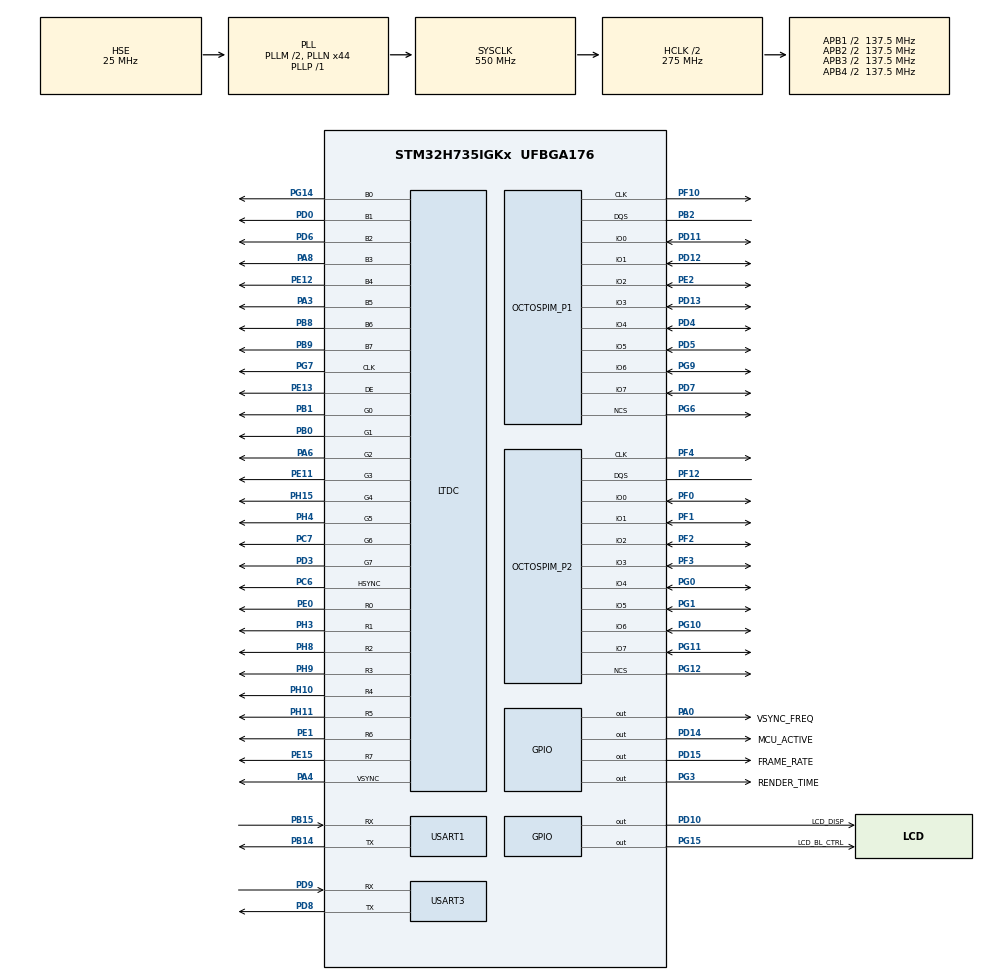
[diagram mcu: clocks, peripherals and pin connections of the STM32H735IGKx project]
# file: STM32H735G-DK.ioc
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CORTEX_M7.AccessPermission-Cortex_Memory_Protection_Unit_Region0_Settings=MPU_REGION_FULL_ACCESS
CORTEX_M7.AccessPermission-Cortex_Memory_Protection_Unit_Region2_Settings=MPU_REGION_FULL_ACCESS
CORTEX_M7.AccessPermission-Cortex_Memory_Protection_Unit_Region4_Settings=MPU_REGION_FULL_ACCESS
CORTEX_M7.BaseAddress-Cortex_Memory_Protection_Unit_Region0_Settings=0x24000000
CORTEX_M7.BaseAddress-Cortex_Memory_Protection_Unit_Region1_Settings=0x70000000
CORTEX_M7.BaseAddress-Cortex_Memory_Protection_Unit_Region2_Settings=0x70000000
CORTEX_M7.BaseAddress-Cortex_Memory_Protection_Unit_Region3_Settings=0x90000000
CORTEX_M7.BaseAddress-Cortex_Memory_Protection_Unit_Region4_Settings=0x90000000
CORTEX_M7.CPU_DCache=Enabled
CORTEX_M7.CPU_ICache=Enabled
CORTEX_M7.DisableExec-Cortex_Memory_Protection_Unit_Region0_Settings=MPU_INSTRUCTION_ACCESS_DISABLE
CORTEX_M7.DisableExec-Cortex_Memory_Protection_Unit_Region1_Settings=MPU_INSTRUCTION_ACCESS_DISABLE
CORTEX_M7.DisableExec-Cortex_Memory_Protection_Unit_Region2_Settings=MPU_INSTRUCTION_ACCESS_DISABLE
CORTEX_M7.DisableExec-Cortex_Memory_Protection_Unit_Region3_Settings=MPU_INSTRUCTION_ACCESS_DISABLE
CORTEX_M7.DisableExec-Cortex_Memory_Protection_Unit_Region4_Settings=MPU_INSTRUCTION_ACCESS_DISABLE
CORTEX_M7.Enable-Cortex_Memory_Protection_Unit_Region0_Settings=MPU_REGION_ENABLE
CORTEX_M7.Enable-Cortex_Memory_Protection_Unit_Region1_Settings=MPU_REGION_ENABLE
CORTEX_M7.Enable-Cortex_Memory_Protection_Unit_Region2_Settings=MPU_REGION_ENABLE
CORTEX_M7.Enable-Cortex_Memory_Protection_Unit_Region3_Settings=MPU_REGION_ENABLE
CORTEX_M7.Enable-Cortex_Memory_Protection_Unit_Region4_Settings=MPU_REGION_ENABLE
CORTEX_M7.IsBufferable-Cortex_Memory_Protection_Unit_Region0_Settings=MPU_ACCESS_BUFFERABLE
CORTEX_M7.IsBufferable-Cortex_Memory_Protection_Unit_Region2_Settings=MPU_ACCESS_BUFFERABLE
CORTEX_M7.IsCacheable-Cortex_Memory_Protection_Unit_Region0_Settings=MPU_ACCESS_CACHEABLE
CORTEX_M7.IsCacheable-Cortex_Memory_Protection_Unit_Region2_Settings=MPU_ACCESS_CACHEABLE
CORTEX_M7.IsCacheable-Cortex_Memory_Protection_Unit_Region4_Settings=MPU_ACCESS_CACHEABLE
CORTEX_M7.MPU_Control=MPU_PRIVILEGED_DEFAULT
CORTEX_M7.Size-Cortex_Memory_Protection_Unit_Region0_Settings=MPU_REGION_SIZE_512KB
CORTEX_M7.Size-Cortex_Memory_Protection_Unit_Region1_Settings=MPU_REGION_SIZE_512MB
CORTEX_M7.Size-Cortex_Memory_Protection_Unit_Region2_Settings=MPU_REGION_SIZE_8MB
CORTEX_M7.Size-Cortex_Memory_Protection_Unit_Region3_Settings=MPU_REGION_SIZE_512MB
CORTEX_M7.Size-Cortex_Memory_Protection_Unit_Region4_Settings=MPU_REGION_SIZE_64MB
DMA2D.ColorMode=DMA2D_OUTPUT_RGB888
DMA2D.Mode=DMA2D_R2M
Dma.Request0=USART1_RX
Dma.USART1_RX.0.Direction=DMA_PERIPH_TO_MEMORY
Dma.USART1_RX.0.EventEnable=DISABLE
Dma.USART1_RX.0.FIFOMode=DMA_FIFOMODE_DISABLE
Dma.USART1_RX.0.Instance=DMA1_Stream0
Dma.USART1_RX.0.MemDataAlignment=DMA_MDATAALIGN_BYTE
Dma.USART1_RX.0.MemInc=DMA_MINC_ENABLE
Dma.USART1_RX.0.Mode=DMA_NORMAL
Dma.USART1_RX.0.PeriphDataAlignment=DMA_PDATAALIGN_BYTE
Dma.USART1_RX.0.PeriphInc=DMA_PINC_DISABLE
Dma.USART1_RX.0.Polarity=HAL_DMAMUX_REQ_GEN_RISING
Dma.USART1_RX.0.Priority=DMA_PRIORITY_HIGH
Dma.USART1_RX.0.RequestNumber=1
Dma.USART1_RX.0.SignalID=NONE
Dma.USART1_RX.0.SyncEnable=DISABLE
Dma.USART1_RX.0.SyncPolarity=HAL_DMAMUX_SYNC_NO_EVENT
Dma.USART1_RX.0.SyncRequestNumber=1
Dma.USART1_RX.0.SyncSignalID=NONE
FREERTOS.Tasks01=defaultTask,24,128,StartDefaultTask,Default,NULL,Dynamic,NULL,NULL;TouchGFXTask,24,1024,TouchGFX_Task,As external,NULL,Dynamic,NULL,NULL;videoTask,8,1024,videoTaskFunc,As external,NULL,Dynamic,NULL,NULL
FREERTOS.configTOTAL_HEAP_SIZE=75000
FREERTOS.configUSE_APPLICATION_TASK_TAG=1
FREERTOS.configUSE_IDLE_HOOK=1
FREERTOS.configUSE_NEWLIB_REENTRANT=1
LIBJPEG.RGB_ORDERING=BGR
LTDC.ActiveH=272
LTDC.ActiveW=480
LTDC.Alpha_L0=255
LTDC.FBStartAdress_L0=0x70000000
LTDC.FBStartAdress_L1=0x70000000
LTDC.HBP=13
LTDC.HFP=32
LTDC.HSync=41
LTDC.ImageHeight_L0=272
LTDC.ImageWidth_L0=480
LTDC.Layers=0
LTDC.PixelFormat_L0=LTDC_PIXEL_FORMAT_RGB888
LTDC.VSync=10
LTDC.WindowX1_L0=480
LTDC.WindowY1_L0=272
Mcu.Family=STM32H7
Mcu.Name=STM32H735IGKx
Mcu.Package=UFBGA176
NVIC.DMA1_Stream0_IRQn=true\:5\:0\:false\:false\:true\:true\:false\:true\:true
NVIC.DMA2D_IRQn=true\:5\:0\:true\:false\:true\:false\:true\:true\:true
NVIC.LTDC_IRQn=true\:5\:0\:true\:false\:true\:false\:true\:true\:true
NVIC.PriorityGroup=NVIC_PRIORITYGROUP_4
NVIC.TIM6_DAC_IRQn=true\:0\:0\:false\:false\:true\:false\:false\:true\:true
NVIC.TimeBase=TIM6_DAC_IRQn
NVIC.TimeBaseIP=TIM6
NVIC.USART1_IRQn=true\:5\:0\:false\:false\:true\:true\:true\:true\:true
OCTOSPI1.ChipSelectBoundary=0
OCTOSPI1.ChipSelectHighTime=2
OCTOSPI1.ClockPrescaler=2
OCTOSPI1.FifoThreshold=4
OCTOSPI1.MemoryType=HAL_OSPI_MEMTYPE_MACRONIX
OCTOSPI2.AccessTime=6
OCTOSPI2.ChipSelectBoundary=23
OCTOSPI2.ChipSelectHighTime=4
OCTOSPI2.ClkChipSelectHighTime=0
OCTOSPI2.ClockPrescaler=2
OCTOSPI2.DelayBlockBypass=HAL_OSPI_DELAY_BLOCK_USED
OCTOSPI2.DelayHoldQuarterCycle=HAL_OSPI_DHQC_ENABLE
OCTOSPI2.DeviceSize=24
OCTOSPI2.FifoThreshold=4
OCTOSPI2.LatencyMode=HAL_OSPI_FIXED_LATENCY
OCTOSPI2.RWRecoveryTime=3
OCTOSPI2.Refresh=400
OCTOSPI2.WriteZeroLatency=HAL_OSPI_LATENCY_ON_WRITE
PA0.GPIO_Label=VSYNC_FREQ
PA0.GPIO_Speed=GPIO_SPEED_FREQ_VERY_HIGH
PA0.Signal=GPIO_Output
PA3.GPIO_Speed=GPIO_SPEED_FREQ_VERY_HIGH
PA3.Mode=RGB888
PA3.Signal=LTDC_B5
PA4.GPIO_Speed=GPIO_SPEED_FREQ_VERY_HIGH
PA4.Mode=RGB888
PA4.Signal=LTDC_VSYNC
PA6.GPIO_Speed=GPIO_SPEED_FREQ_VERY_HIGH
PA6.Mode=RGB888
PA6.Signal=LTDC_G2
PA8.GPIO_Speed=GPIO_SPEED_FREQ_VERY_HIGH
PA8.Mode=RGB888
PA8.Signal=LTDC_B3
PB0.GPIO_Speed=GPIO_SPEED_FREQ_VERY_HIGH
PB0.Mode=RGB888
PB0.Signal=LTDC_G1
PB1.GPIO_Speed=GPIO_SPEED_FREQ_VERY_HIGH
PB1.Mode=RGB888
PB1.Signal=LTDC_G0
PB14.Mode=Asynchronous
PB14.Signal=USART1_TX
PB15.Mode=Asynchronous
PB15.Signal=USART1_RX
PB2.Mode=OCTOSPI1_Port1_DQS
PB2.Signal=OCTOSPIM_P1_DQS
PB8.GPIO_Speed=GPIO_SPEED_FREQ_VERY_HIGH
PB8.Mode=RGB888
PB8.Signal=LTDC_B6
PB9.GPIO_Speed=GPIO_SPEED_FREQ_VERY_HIGH
PB9.Mode=RGB888
PB9.Signal=LTDC_B7
PC6.GPIO_Speed=GPIO_SPEED_FREQ_VERY_HIGH
PC6.Mode=RGB888
PC6.Signal=LTDC_HSYNC
PC7.GPIO_Speed=GPIO_SPEED_FREQ_VERY_HIGH
PC7.Mode=RGB888
PC7.Signal=LTDC_G6
PD0.GPIO_Speed=GPIO_SPEED_FREQ_VERY_HIGH
PD0.Mode=RGB888
PD0.Signal=LTDC_B1
PD10.GPIO_Label=LCD_DISP
PD10.GPIO_PuPd=GPIO_NOPULL
PD10.GPIO_Speed=GPIO_SPEED_FREQ_LOW
PD10.PinState=GPIO_PIN_RESET
PD10.Signal=GPIO_Output
PD11.Mode=OCTOSPI1_IOL_Port1L
PD11.Signal=OCTOSPIM_P1_IO0
PD12.Mode=OCTOSPI1_IOL_Port1L
PD12.Signal=OCTOSPIM_P1_IO1
PD13.Mode=OCTOSPI1_IOL_Port1L
PD13.Signal=OCTOSPIM_P1_IO3
PD14.GPIO_Label=MCU_ACTIVE
PD14.GPIO_Speed=GPIO_SPEED_FREQ_VERY_HIGH
PD14.Signal=GPIO_Output
PD15.GPIO_Label=FRAME_RATE
PD15.GPIO_Speed=GPIO_SPEED_FREQ_VERY_HIGH
PD15.Signal=GPIO_Output
PD3.GPIO_Speed=GPIO_SPEED_FREQ_VERY_HIGH
PD3.Mode=RGB888
PD3.Signal=LTDC_G7
PD4.Mode=OCTOSPI1_IOH_Port1H
PD4.Signal=OCTOSPIM_P1_IO4
PD5.Mode=OCTOSPI1_IOH_Port1H
PD5.Signal=OCTOSPIM_P1_IO5
PD6.GPIO_Speed=GPIO_SPEED_FREQ_VERY_HIGH
PD6.Mode=RGB888
PD6.Signal=LTDC_B2
PD7.Mode=OCTOSPI1_IOH_Port1H
PD7.Signal=OCTOSPIM_P1_IO7
PD8.Mode=Asynchronous
PD8.Signal=USART3_TX
PD9.Mode=Asynchronous
PD9.Signal=USART3_RX
PE0.GPIO_Speed=GPIO_SPEED_FREQ_VERY_HIGH
PE0.Mode=RGB888
PE0.Signal=LTDC_R0
PE1.GPIO_Speed=GPIO_SPEED_FREQ_VERY_HIGH
PE1.Mode=RGB888
PE1.Signal=LTDC_R6
PE11.GPIO_Speed=GPIO_SPEED_FREQ_VERY_HIGH
PE11.Mode=RGB888
PE11.Signal=LTDC_G3
PE12.GPIO_Speed=GPIO_SPEED_FREQ_VERY_HIGH
PE12.Mode=RGB888
PE12.Signal=LTDC_B4
PE13.GPIO_Speed=GPIO_SPEED_FREQ_VERY_HIGH
PE13.Mode=RGB888
PE13.Signal=LTDC_DE
PE15.GPIO_Speed=GPIO_SPEED_FREQ_VERY_HIGH
PE15.Mode=RGB888
PE15.Signal=LTDC_R7
PE2.Mode=OCTOSPI1_IOL_Port1L
PE2.Signal=OCTOSPIM_P1_IO2
PF0.Mode=OCTOSPI2_IOL_Port2L
PF0.Signal=OCTOSPIM_P2_IO0
PF1.Mode=OCTOSPI2_IOL_Port2L
PF1.Signal=OCTOSPIM_P2_IO1
PF10.Mode=O1_P1_CLK
PF10.Signal=OCTOSPIM_P1_CLK
PF12.Mode=OCTOSPI2_Port2_DQS
PF12.Signal=OCTOSPIM_P2_DQS
PF2.Mode=OCTOSPI2_IOL_Port2L
PF2.Signal=OCTOSPIM_P2_IO2
PF3.Mode=OCTOSPI2_IOL_Port2L
PF3.Signal=OCTOSPIM_P2_IO3
PF4.Mode=O2_P2_CLK
PF4.Signal=OCTOSPIM_P2_CLK
PG0.Mode=OCTOSPI2_IOH_Port2H
PG0.Signal=OCTOSPIM_P2_IO4
PG1.Mode=OCTOSPI2_IOH_Port2H
PG1.Signal=OCTOSPIM_P2_IO5
PG10.Mode=OCTOSPI2_IOH_Port2H
PG10.Signal=OCTOSPIM_P2_IO6
PG11.Mode=OCTOSPI2_IOH_Port2H
PG11.Signal=OCTOSPIM_P2_IO7
PG12.Mode=OCTOSPI2_Port2_NCS
PG12.Signal=OCTOSPIM_P2_NCS
PG14.GPIO_Speed=GPIO_SPEED_FREQ_VERY_HIGH
PG14.Mode=RGB888
PG14.Signal=LTDC_B0
PG15.GPIO_Label=LCD_BL_CTRL
PG15.Signal=GPIO_Output
PG3.GPIO_Label=RENDER_TIME
PG3.GPIO_Speed=GPIO_SPEED_FREQ_VERY_HIGH
PG3.Signal=GPIO_Output
PG6.Mode=OCTOSPI1_Port1_NCS
PG6.Signal=OCTOSPIM_P1_NCS
PG7.GPIO_Speed=GPIO_SPEED_FREQ_VERY_HIGH
PG7.Mode=RGB888
PG7.Signal=LTDC_CLK
PG9.Mode=OCTOSPI1_IOH_Port1H
PG9.Signal=OCTOSPIM_P1_IO6
PH0-OSC_IN.Mode=HSE-External-Oscillator
PH0-OSC_IN.Signal=RCC_OSC_IN
PH1-OSC_OUT.Mode=HSE-External-Oscillator
PH1-OSC_OUT.Signal=RCC_OSC_OUT
PH10.GPIO_Speed=GPIO_SPEED_FREQ_VERY_HIGH
PH10.Mode=RGB888
PH10.Signal=LTDC_R4
PH11.GPIO_Speed=GPIO_SPEED_FREQ_VERY_HIGH
PH11.Mode=RGB888
PH11.Signal=LTDC_R5
PH15.GPIO_Speed=GPIO_SPEED_FREQ_VERY_HIGH
PH15.Mode=RGB888
PH15.Signal=LTDC_G4
PH3.GPIO_Speed=GPIO_SPEED_FREQ_VERY_HIGH
PH3.Mode=RGB888
PH3.Signal=LTDC_R1
PH4.GPIO_Speed=GPIO_SPEED_FREQ_VERY_HIGH
PH4.Mode=RGB888
PH4.Signal=LTDC_G5
PH8.GPIO_Speed=GPIO_SPEED_FREQ_VERY_HIGH
PH8.Mode=RGB888
PH8.Signal=LTDC_R2
PH9.GPIO_Speed=GPIO_SPEED_FREQ_VERY_HIGH
PH9.Mode=RGB888
PH9.Signal=LTDC_R3
ProjectManager.HeapSize=0x1000
ProjectManager.StackSize=0x1000
ProjectManager.TargetToolchain=STM32CubeIDE
RCC.ADCFreq_Value=200000000
RCC.APB1Freq_Value=137500000
RCC.APB2Freq_Value=137500000
RCC.APB3Freq_Value=137500000
RCC.APB4Freq_Value=137500000
RCC.CortexFreq_Value=550000000
RCC.D1PPRE=RCC_APB3_DIV2
RCC.D2PPRE1=RCC_APB1_DIV2
RCC.D2PPRE2=RCC_APB2_DIV2
RCC.D3PPRE=RCC_APB4_DIV2
RCC.DIVM1=2
RCC.DIVM2=5
RCC.DIVM3=25
RCC.DIVN1=44
RCC.DIVN2=80
RCC.DIVN3=288
RCC.DIVP1=1
RCC.DIVR3=30
RCC.HCLKFreq_Value=275000000
RCC.HPRE=RCC_HCLK_DIV2
RCC.PLL2FRACN=0
RCC.PLL3FRACN=0
RCC.PLLFRACN=0
RCC.PLLSourceVirtual=RCC_PLLSOURCE_HSE
RCC.QSPICLockSelection=RCC_OSPICLKSOURCE_PLL2
RCC.SYSCLKFreq_VALUE=550000000
RCC.SYSCLKSource=RCC_SYSCLKSOURCE_PLLCLK
RCC.SupplySource=PWR_DIRECT_SMPS_SUPPLY
RCC.USBFreq_Value=275000000
STMicroelectronics.X-CUBE-TOUCHGFX.4.24.0.ApplicationCcGraphicsJjApplication=TouchGFXOoGenerator
STMicroelectronics.X-CUBE-TOUCHGFX.4.24.0.tgfx_buffering_strategy=Double
STMicroelectronics.X-CUBE-TOUCHGFX.4.24.0.tgfx_display_interface=disp_ltdc
STMicroelectronics.X-CUBE-TOUCHGFX.4.24.0.tgfx_hardware_accelerator=dma_2d
STMicroelectronics.X-CUBE-TOUCHGFX.4.24.0.tgfx_vector_fonts=Enabled
STMicroelectronics.X-CUBE-TOUCHGFX.4.24.0.tgfx_vector_rendering=Software
STMicroelectronics.X-CUBE-TOUCHGFX.4.24.0.tgfx_video=Software
STMicroelectronics.X-CUBE-TOUCHGFX.4.24.0.tgfx_video_buffer_format=RGB888\:3
STMicroelectronics.X-CUBE-TOUCHGFX.4.24.0.tgfx_video_height=272
STMicroelectronics.X-CUBE-TOUCHGFX.4.24.0.tgfx_video_strategy=1
STMicroelectronics.X-CUBE-TOUCHGFX.4.24.0.tgfx_video_width=480
STMicroelectronics.X-CUBE-TOUCHGFX.4.24.0.tgfx_vsync=vsync_ltdc
STMicroelectronics.X-CUBE-TOUCHGFX.4.24.0_IsPackSelfContextualization=true
USART1.VirtualMode-Asynchronous=VM_ASYNC
USART3.VirtualMode-Asynchronous=VM_ASYNC
VP_CRC_VS_CRC.Mode=CRC_Activate
VP_DMA2D_VS_DMA2D.Mode=DMA2D_Activate
VP_FREERTOS_VS_CMSIS_V2.Mode=CMSIS_V2
VP_LIBJPEG_VS_JPEGLIB.Mode=Enabled
VP_OCTOSPI1_VS_octo.Mode=octo_mode
VP_OCTOSPI2_VS_octo.Mode=hyperbus_mode
VP_STMicroelectronics.X-CUBE-TOUCHGFX_VS_GraphicsJjApplication_4.24.0.Mode=GraphicsJjApplication
VP_SYS_VS_tim6.Mode=TIM6
board=custom

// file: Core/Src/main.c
/* USER CODE BEGIN Header */
/**
  ******************************************************************************
  * @file           : main.c
  * @brief          : Main program body
  ******************************************************************************
  * @attention
  *
  * <h2><center>&copy; Copyright (c) 2020 STMicroelectronics.
  * All rights reserved.</center></h2>
  *
  * This software component is licensed by ST under Ultimate Liberty license
  * SLA0044, the "License"; You may not use this file except in compliance with
  * the License. You may obtain a copy of the License at:
  *                             www.st.com/SLA0044
  *
  ******************************************************************************
  */
/* USER CODE END Header */
#include "main.h"
#include "cmsis_os.h"
#include "libjpeg.h"
#include "app_touchgfx.h"

/* USER CODE BEGIN Includes */
#include <string.h>
#include "stm32h735g_discovery_ospi.h"
#include "stm32h7xx_hal_ospi.h"
/* USER CODE END Includes */

/* USER CODE BEGIN PD */

#define RX_BUFFER_SIZE 1024

/* USER CODE END PD */

CRC_HandleTypeDef hcrc;

DMA2D_HandleTypeDef hdma2d;

LTDC_HandleTypeDef hltdc;

OSPI_HandleTypeDef hospi1;
OSPI_HandleTypeDef hospi2;

UART_HandleTypeDef huart1;
UART_HandleTypeDef huart3;
DMA_HandleTypeDef hdma_usart1_rx;

/* Definitions for defaultTask */
osThreadId_t defaultTaskHandle;
const osThreadAttr_t defaultTask_attributes = {
  .name = "defaultTask",
  .stack_size = 128 * 4,
  .priority = (osPriority_t) osPriorityNormal,
};
/* Definitions for TouchGFXTask */
osThreadId_t TouchGFXTaskHandle;
const osThreadAttr_t TouchGFXTask_attributes = {
  .name = "TouchGFXTask",
  .stack_size = 1024 * 4,
  .priority = (osPriority_t) osPriorityNormal,
};
/* Definitions for videoTask */
osThreadId_t videoTaskHandle;
const osThreadAttr_t videoTask_attributes = {
  .name = "videoTask",
  .stack_size = 1024,
  .priority = (osPriority_t) osPriorityLow,
};
/* USER CODE BEGIN PV */

static uint8_t rxBuffer[RX_BUFFER_SIZE];

osMessageQueueId_t busInfoQueueHandle;

const osMessageQueueAttr_t busInfoQueue_attributes = {
        .name = "busInfoQueue"
};

/* USER CODE END PV */

void SystemClock_Config(void);
void PeriphCommonClock_Config(void);
static void MPU_Config(void);
static void MX_GPIO_Init(void);
static void MX_DMA_Init(void);
static void MX_LTDC_Init(void);
static void MX_OCTOSPI1_Init(void);
static void MX_OCTOSPI2_Init(void);
static void MX_USART1_UART_Init(void);
static void MX_USART3_UART_Init(void);
static void MX_CRC_Init(void);
static void MX_DMA2D_Init(void);
void StartDefaultTask(void *argument);
extern void TouchGFX_Task(void *argument);
extern void videoTaskFunc(void *argument);

/* USER CODE BEGIN PFP */
int parseData(uint8_t* data, uint16_t len);
void MX_DMA_Init(void);
void HAL_UART_RxTimeoutCallback(UART_HandleTypeDef *huart);
/* USER CODE END PFP */

/* USER CODE BEGIN 0 */

void HAL_UART_RxTimeoutCallback(UART_HandleTypeDef *huart)
{
    printf("[DEBUG] HAL_UART_RxTimeoutCallback called\r\n");
    if (huart->Instance == USART1)
    {
        // 현재 수신된 데이터 길이를 계산
        uint16_t receivedLength = RX_BUFFER_SIZE - __HAL_DMA_GET_COUNTER(huart->hdmarx);
        printf("[DEBUG] Received data length: %d\r\n", receivedLength);

        rxBuffer[receivedLength] = '\0'; // NUL 문자 추가
        printf("[DEBUG] Received data: <%s>\r\n", rxBuffer);

        // 데이터 처리
        parseData(rxBuffer, receivedLength);

        // DMA 중지 및 재시작
        HAL_UART_DMAStop(huart);
        HAL_UART_Receive_DMA(huart, rxBuffer, RX_BUFFER_SIZE);
    }
}

/**
 * @brief Parse bus information from UART1
 * @param data: bus information data (char*)
 */
int parseData(uint8_t* data, uint16_t len)
{
    printf("[DEBUG] parseData called\r\n");

    char* token;
    char* rest = (char*)data;
    BusInfo busInfo;
    int processedLength = 0;

    // 문자열 초기화
    memset(&busInfo, 0, sizeof(BusInfo));

    // strtok_r을 사용하여 데이터 라인별로 파싱
    while ((token = strtok_r(rest, "\n", &rest)))
    {
        printf("[DEBUG] New token. token_ptr: %p Parsing data: <%s>\r\n", (void*)&token, token);

        // 토큰이 올바르게 파싱되는지 확인하고, 필요시 오류 처리
        if (sscanf(token, "%31[^,],%u,%31[^,],%31[^,],%u,%u",
                   busInfo.routeName,
                   &busInfo.predictTimeSec1,
                   busInfo.routeId,
                   busInfo.vehId1,
                   &busInfo.remainSeatCnt1,
                   &busInfo.staOrder) == 6)
        {
            // 데이터가 올바르게 파싱되었을 때만 큐에 추가
            osMessageQueuePut(busInfoQueueHandle, &busInfo, 0, 0);
            printf("[DEBUG] New queue added: <Route Name: %s, Predict Time: %d, Route ID: %s, Vehicle ID: %s, Remain Seat: %d, Station Order: %d>\r\n"
                   "[DEBUG] Current queue count: %ld\r\n",
                   busInfo.routeName, busInfo.predictTimeSec1, busInfo.routeId, busInfo.vehId1, busInfo.remainSeatCnt1, busInfo.staOrder,
                   osMessageQueueGetCount(busInfoQueueHandle));
        }
        else
        {
            printf("[ERROR] Failed to parse token: <%s>\r\n", token);
        }

        // 처리된 길이를 업데이트
        processedLength += strlen(token) + 1; // +1 for the '\n' delimiter
    }

    // rxBuffer를 비우기
    memset(data, 0, len);
    printf("[DEBUG] rxBuffer cleared\r\n");

    return processedLength;
}

/* USER CODE END 0 */

int main(void)
{

  /* MPU Configuration--------------------------------------------------------*/
  MPU_Config();

  /* Enable the CPU Cache */

  /* Enable I-Cache---------------------------------------------------------*/
  SCB_EnableICache();

  /* Enable D-Cache---------------------------------------------------------*/
  SCB_EnableDCache();

  /* MCU Configuration--------------------------------------------------------*/

  /* Reset of all peripherals, Initializes the Flash interface and the Systick. */
  HAL_Init();

  /* Configure the system clock */
  SystemClock_Config();

/* Configure the peripherals common clocks */
  PeriphCommonClock_Config();

  /* Initialize all configured peripherals */
  MX_GPIO_Init();
  MX_DMA_Init();
  MX_LTDC_Init();
  MX_OCTOSPI1_Init();
  MX_OCTOSPI2_Init();
  MX_LIBJPEG_Init();
  MX_USART1_UART_Init();
  MX_USART3_UART_Init();
  MX_CRC_Init();
  MX_DMA2D_Init();
  MX_TouchGFX_Init();
  /* Call PreOsInit function */
  MX_TouchGFX_PreOSInit();

  /* Init scheduler */
  osKernelInitialize();

  /* USER CODE BEGIN RTOS_QUEUES */
  /* add queues, ... */
  busInfoQueueHandle = osMessageQueueNew(30, sizeof(BusInfo), &busInfoQueue_attributes);
  /* USER CODE END RTOS_QUEUES */

  /* Create the thread(s) */
  /* creation of defaultTask */
  defaultTaskHandle = osThreadNew(StartDefaultTask, NULL, &defaultTask_attributes);

  /* creation of TouchGFXTask */
  TouchGFXTaskHandle = osThreadNew(TouchGFX_Task, NULL, &TouchGFXTask_attributes);

  /* creation of videoTask */
  videoTaskHandle = osThreadNew(videoTaskFunc, NULL, &videoTask_attributes);

  /* USER CODE BEGIN RTOS_EVENTS */
  /* add events, ... */
  // UART DMA ?��?�� ?��?��
  HAL_UART_Receive_DMA(&huart1, rxBuffer, RX_BUFFER_SIZE);
  /* USER CODE END RTOS_EVENTS */

  /* Start scheduler */
  osKernelStart();

  /* We should never get here as control is now taken by the scheduler */

  /* Infinite loop */
  while (1)
  {

  }
}

void SystemClock_Config(void)
{
  RCC_OscInitTypeDef RCC_OscInitStruct = {0};
  RCC_ClkInitTypeDef RCC_ClkInitStruct = {0};

  /** Supply configuration update enable
  */
  HAL_PWREx_ConfigSupply(PWR_DIRECT_SMPS_SUPPLY);

  /** Configure the main internal regulator output voltage
  */
  __HAL_PWR_VOLTAGESCALING_CONFIG(PWR_REGULATOR_VOLTAGE_SCALE0);

  while(!__HAL_PWR_GET_FLAG(PWR_FLAG_VOSRDY)) {}

  /** Initializes the RCC Oscillators according to the specified parameters
  * in the RCC_OscInitTypeDef structure.
  */
  RCC_OscInitStruct.OscillatorType = RCC_OSCILLATORTYPE_HSE;
  RCC_OscInitStruct.HSEState = RCC_HSE_ON;
  RCC_OscInitStruct.PLL.PLLState = RCC_PLL_ON;
  RCC_OscInitStruct.PLL.PLLSource = RCC_PLLSOURCE_HSE;
  RCC_OscInitStruct.PLL.PLLM = 2;
  RCC_OscInitStruct.PLL.PLLN = 44;
  RCC_OscInitStruct.PLL.PLLP = 1;
  RCC_OscInitStruct.PLL.PLLQ = 2;
  RCC_OscInitStruct.PLL.PLLR = 2;
  RCC_OscInitStruct.PLL.PLLRGE = RCC_PLL1VCIRANGE_3;
  RCC_OscInitStruct.PLL.PLLVCOSEL = RCC_PLL1VCOWIDE;
  RCC_OscInitStruct.PLL.PLLFRACN = 0;
  if (HAL_RCC_OscConfig(&RCC_OscInitStruct) != HAL_OK)
  {
    Error_Handler();
  }

  /** Initializes the CPU, AHB and APB buses clocks
  */
  RCC_ClkInitStruct.ClockType = RCC_CLOCKTYPE_HCLK|RCC_CLOCKTYPE_SYSCLK
                              |RCC_CLOCKTYPE_PCLK1|RCC_CLOCKTYPE_PCLK2
                              |RCC_CLOCKTYPE_D3PCLK1|RCC_CLOCKTYPE_D1PCLK1;
  RCC_ClkInitStruct.SYSCLKSource = RCC_SYSCLKSOURCE_PLLCLK;
  RCC_ClkInitStruct.SYSCLKDivider = RCC_SYSCLK_DIV1;
  RCC_ClkInitStruct.AHBCLKDivider = RCC_HCLK_DIV2;
  RCC_ClkInitStruct.APB3CLKDivider = RCC_APB3_DIV2;
  RCC_ClkInitStruct.APB1CLKDivider = RCC_APB1_DIV2;
  RCC_ClkInitStruct.APB2CLKDivider = RCC_APB2_DIV2;
  RCC_ClkInitStruct.APB4CLKDivider = RCC_APB4_DIV2;

  if (HAL_RCC_ClockConfig(&RCC_ClkInitStruct, FLASH_LATENCY_3) != HAL_OK)
  {
    Error_Handler();
  }
}

void PeriphCommonClock_Config(void)
{
  RCC_PeriphCLKInitTypeDef PeriphClkInitStruct = {0};

  /** Initializes the peripherals clock
  */
  PeriphClkInitStruct.PeriphClockSelection = RCC_PERIPHCLK_OSPI;
  PeriphClkInitStruct.PLL2.PLL2M = 5;
  PeriphClkInitStruct.PLL2.PLL2N = 80;
  PeriphClkInitStruct.PLL2.PLL2P = 2;
  PeriphClkInitStruct.PLL2.PLL2Q = 2;
  PeriphClkInitStruct.PLL2.PLL2R = 2;
  PeriphClkInitStruct.PLL2.PLL2RGE = RCC_PLL2VCIRANGE_2;
  PeriphClkInitStruct.PLL2.PLL2VCOSEL = RCC_PLL2VCOWIDE;
  PeriphClkInitStruct.PLL2.PLL2FRACN = 0;
  PeriphClkInitStruct.OspiClockSelection = RCC_OSPICLKSOURCE_PLL2;
  if (HAL_RCCEx_PeriphCLKConfig(&PeriphClkInitStruct) != HAL_OK)
  {
    Error_Handler();
  }
}

static void MX_CRC_Init(void)
{

  hcrc.Instance = CRC;
  hcrc.Init.DefaultPolynomialUse = DEFAULT_POLYNOMIAL_ENABLE;
  hcrc.Init.DefaultInitValueUse = DEFAULT_INIT_VALUE_ENABLE;
  hcrc.Init.InputDataInversionMode = CRC_INPUTDATA_INVERSION_NONE;
  hcrc.Init.OutputDataInversionMode = CRC_OUTPUTDATA_INVERSION_DISABLE;
  hcrc.InputDataFormat = CRC_INPUTDATA_FORMAT_BYTES;
  if (HAL_CRC_Init(&hcrc) != HAL_OK)
  {
    Error_Handler();
  }

}

static void MX_DMA2D_Init(void)
{

  hdma2d.Instance = DMA2D;
  hdma2d.Init.Mode = DMA2D_R2M;
  hdma2d.Init.ColorMode = DMA2D_OUTPUT_RGB888;
  hdma2d.Init.OutputOffset = 0;
  if (HAL_DMA2D_Init(&hdma2d) != HAL_OK)
  {
    Error_Handler();
  }

}

static void MX_LTDC_Init(void)
{

  LTDC_LayerCfgTypeDef pLayerCfg = {0};

  hltdc.Instance = LTDC;
  hltdc.Init.HSPolarity = LTDC_HSPOLARITY_AL;
  hltdc.Init.VSPolarity = LTDC_VSPOLARITY_AL;
  hltdc.Init.DEPolarity = LTDC_DEPOLARITY_AL;
  hltdc.Init.PCPolarity = LTDC_PCPOLARITY_IPC;
  hltdc.Init.HorizontalSync = 40;
  hltdc.Init.VerticalSync = 9;
  hltdc.Init.AccumulatedHBP = 53;
  hltdc.Init.AccumulatedVBP = 11;
  hltdc.Init.AccumulatedActiveW = 533;
  hltdc.Init.AccumulatedActiveH = 283;
  hltdc.Init.TotalWidth = 565;
  hltdc.Init.TotalHeigh = 285;
  hltdc.Init.Backcolor.Blue = 0;
  hltdc.Init.Backcolor.Green = 0;
  hltdc.Init.Backcolor.Red = 0;
  if (HAL_LTDC_Init(&hltdc) != HAL_OK)
  {
    Error_Handler();
  }
  pLayerCfg.WindowX0 = 0;
  pLayerCfg.WindowX1 = 480;
  pLayerCfg.WindowY0 = 0;
  pLayerCfg.WindowY1 = 272;
  pLayerCfg.PixelFormat = LTDC_PIXEL_FORMAT_RGB888;
  pLayerCfg.Alpha = 255;
  pLayerCfg.Alpha0 = 0;
  pLayerCfg.BlendingFactor1 = LTDC_BLENDING_FACTOR1_CA;
  pLayerCfg.BlendingFactor2 = LTDC_BLENDING_FACTOR2_CA;
  pLayerCfg.FBStartAdress = 0x70000000;
  pLayerCfg.ImageWidth = 480;
  pLayerCfg.ImageHeight = 272;
  pLayerCfg.Backcolor.Blue = 0;
  pLayerCfg.Backcolor.Green = 0;
  pLayerCfg.Backcolor.Red = 0;
  if (HAL_LTDC_ConfigLayer(&hltdc, &pLayerCfg, 0) != HAL_OK)
  {
    Error_Handler();
  }

}

static void MX_OCTOSPI1_Init(void)
{

  /* USER CODE BEGIN OCTOSPI1_Init 0 */
  BSP_OSPI_NOR_Init_t ospi_nor_int;
  /* USER CODE END OCTOSPI1_Init 0 */

  OSPIM_CfgTypeDef sOspiManagerCfg = {0};

  /* OCTOSPI1 parameter configuration*/
  hospi1.Instance = OCTOSPI1;
  hospi1.Init.FifoThreshold = 4;
  hospi1.Init.DualQuad = HAL_OSPI_DUALQUAD_DISABLE;
  hospi1.Init.MemoryType = HAL_OSPI_MEMTYPE_MACRONIX;
  hospi1.Init.DeviceSize = 32;
  hospi1.Init.ChipSelectHighTime = 2;
  hospi1.Init.FreeRunningClock = HAL_OSPI_FREERUNCLK_DISABLE;
  hospi1.Init.ClockMode = HAL_OSPI_CLOCK_MODE_0;
  hospi1.Init.WrapSize = HAL_OSPI_WRAP_NOT_SUPPORTED;
  hospi1.Init.ClockPrescaler = 2;
  hospi1.Init.SampleShifting = HAL_OSPI_SAMPLE_SHIFTING_NONE;
  hospi1.Init.DelayHoldQuarterCycle = HAL_OSPI_DHQC_DISABLE;
  hospi1.Init.ChipSelectBoundary = 0;
  hospi1.Init.DelayBlockBypass = HAL_OSPI_DELAY_BLOCK_BYPASSED;
  hospi1.Init.MaxTran = 0;
  hospi1.Init.Refresh = 0;
  if (HAL_OSPI_Init(&hospi1) != HAL_OK)
  {
    Error_Handler();
  }
  sOspiManagerCfg.ClkPort = 1;
  sOspiManagerCfg.DQSPort = 1;
  sOspiManagerCfg.NCSPort = 1;
  sOspiManagerCfg.IOLowPort = HAL_OSPIM_IOPORT_1_LOW;
  sOspiManagerCfg.IOHighPort = HAL_OSPIM_IOPORT_1_HIGH;
  if (HAL_OSPIM_Config(&hospi1, &sOspiManagerCfg, HAL_OSPI_TIMEOUT_DEFAULT_VALUE) != HAL_OK)
  {
    Error_Handler();
  }
  /* USER CODE BEGIN OCTOSPI1_Init 2 */
  HAL_OSPI_DeInit(&hospi1);
  ospi_nor_int.InterfaceMode = BSP_OSPI_NOR_OPI_MODE;
  ospi_nor_int.TransferRate  = BSP_OSPI_NOR_DTR_TRANSFER;
  BSP_OSPI_NOR_DeInit(0);
  if(BSP_OSPI_NOR_Init(0, &ospi_nor_int) != BSP_ERROR_NONE)
  {
    Error_Handler();
  }
  if(BSP_OSPI_NOR_EnableMemoryMappedMode(0) != BSP_ERROR_NONE)
  {
    Error_Handler();
  }
  /* USER CODE END OCTOSPI1_Init 2 */

}

static void MX_OCTOSPI2_Init(void)
{

  /* USER CODE BEGIN OCTOSPI2_Init 0 */
  BSP_OSPI_RAM_Init_t ospi_ram_init;
  /* USER CODE END OCTOSPI2_Init 0 */

  OSPIM_CfgTypeDef sOspiManagerCfg = {0};
  OSPI_HyperbusCfgTypeDef sHyperBusCfg = {0};

  /* USER CODE BEGIN OCTOSPI2_Init 1 */
  OSPI_HyperbusCmdTypeDef sCommand = {0};
  OSPI_MemoryMappedTypeDef sMemMappedCfg = {0};
  /* USER CODE END OCTOSPI2_Init 1 */
  /* OCTOSPI2 parameter configuration*/
  hospi2.Instance = OCTOSPI2;
  hospi2.Init.FifoThreshold = 4;
  hospi2.Init.DualQuad = HAL_OSPI_DUALQUAD_DISABLE;
  hospi2.Init.MemoryType = HAL_OSPI_MEMTYPE_HYPERBUS;
  hospi2.Init.DeviceSize = 24;
  hospi2.Init.ChipSelectHighTime = 4;
  hospi2.Init.FreeRunningClock = HAL_OSPI_FREERUNCLK_DISABLE;
  hospi2.Init.ClockMode = HAL_OSPI_CLOCK_MODE_0;
  hospi2.Init.WrapSize = HAL_OSPI_WRAP_NOT_SUPPORTED;
  hospi2.Init.ClockPrescaler = 2;
  hospi2.Init.SampleShifting = HAL_OSPI_SAMPLE_SHIFTING_NONE;
  hospi2.Init.DelayHoldQuarterCycle = HAL_OSPI_DHQC_ENABLE;
  hospi2.Init.ChipSelectBoundary = 23;
  hospi2.Init.DelayBlockBypass = HAL_OSPI_DELAY_BLOCK_USED;
  hospi2.Init.MaxTran = 0;
  hospi2.Init.Refresh = 400;
  if (HAL_OSPI_Init(&hospi2) != HAL_OK)
  {
    Error_Handler();
  }
  sOspiManagerCfg.ClkPort = 2;
  sOspiManagerCfg.DQSPort = 2;
  sOspiManagerCfg.NCSPort = 2;
  sOspiManagerCfg.IOLowPort = HAL_OSPIM_IOPORT_2_LOW;
  sOspiManagerCfg.IOHighPort = HAL_OSPIM_IOPORT_2_HIGH;
  if (HAL_OSPIM_Config(&hospi2, &sOspiManagerCfg, HAL_OSPI_TIMEOUT_DEFAULT_VALUE) != HAL_OK)
  {
    Error_Handler();
  }
  sHyperBusCfg.RWRecoveryTime = 3;
  sHyperBusCfg.AccessTime = 6;
  sHyperBusCfg.WriteZeroLatency = HAL_OSPI_LATENCY_ON_WRITE;
  sHyperBusCfg.LatencyMode = HAL_OSPI_FIXED_LATENCY;
  if (HAL_OSPI_HyperbusCfg(&hospi2, &sHyperBusCfg, HAL_OSPI_TIMEOUT_DEFAULT_VALUE) != HAL_OK)
  {
    Error_Handler();
  }
  /* USER CODE BEGIN OCTOSPI2_Init 2 */
  sCommand.AddressSpace = HAL_OSPI_MEMORY_ADDRESS_SPACE;
  sCommand.AddressSize  = HAL_OSPI_ADDRESS_32_BITS;
  sCommand.DQSMode      = HAL_OSPI_DQS_ENABLE;
  sCommand.Address      = 0;
  sCommand.NbData       = 1;

  if (HAL_OSPI_HyperbusCmd(&hospi2, &sCommand, HAL_OSPI_TIMEOUT_DEFAULT_VALUE) != HAL_OK)
  {
    Error_Handler();
  }

  sMemMappedCfg.TimeOutActivation = HAL_OSPI_TIMEOUT_COUNTER_DISABLE;

  if (HAL_OSPI_MemoryMapped(&hospi2, &sMemMappedCfg) != HAL_OK)
  {
    Error_Handler();
  }

  /* USER CODE END OCTOSPI2_Init 2 */

}

static void MX_USART1_UART_Init(void)
{

  huart1.Instance = USART1;
  huart1.Init.BaudRate = 115200;
  huart1.Init.WordLength = UART_WORDLENGTH_8B;
  huart1.Init.StopBits = UART_STOPBITS_1;
  huart1.Init.Parity = UART_PARITY_NONE;
  huart1.Init.Mode = UART_MODE_TX_RX;
  huart1.Init.HwFlowCtl = UART_HWCONTROL_NONE;
  huart1.Init.OverSampling = UART_OVERSAMPLING_16;
  huart1.Init.OneBitSampling = UART_ONE_BIT_SAMPLE_DISABLE;
  huart1.Init.ClockPrescaler = UART_PRESCALER_DIV1;
  huart1.AdvancedInit.AdvFeatureInit = UART_ADVFEATURE_NO_INIT;
  if (HAL_UART_Init(&huart1) != HAL_OK)
  {
    Error_Handler();
  }
  if (HAL_UARTEx_SetTxFifoThreshold(&huart1, UART_TXFIFO_THRESHOLD_1_8) != HAL_OK)
  {
    Error_Handler();
  }
  if (HAL_UARTEx_SetRxFifoThreshold(&huart1, UART_RXFIFO_THRESHOLD_1_8) != HAL_OK)
  {
    Error_Handler();
  }
  if (HAL_UARTEx_DisableFifoMode(&huart1) != HAL_OK)
  {
    Error_Handler();
  }
  /* USER CODE BEGIN USART1_Init 2 */

    // RTO 타임아웃 설정 (단위: UART 클록 주기)
    HAL_UART_EnableReceiverTimeout(&huart1);
    __HAL_UART_ENABLE_IT(&huart1, UART_IT_RTO);
    huart1.Instance->RTOR = 100000; // RTO 타임아웃 값 설정 (100000 UART 클록 주기)

    HAL_UART_Receive_DMA(&huart1, rxBuffer, RX_BUFFER_SIZE);

  /* USER CODE END USART1_Init 2 */

}

static void MX_USART3_UART_Init(void)
{

  huart3.Instance = USART3;
  huart3.Init.BaudRate = 115200;
  huart3.Init.WordLength = UART_WORDLENGTH_8B;
  huart3.Init.StopBits = UART_STOPBITS_1;
  huart3.Init.Parity = UART_PARITY_NONE;
  huart3.Init.Mode = UART_MODE_TX_RX;
  huart3.Init.HwFlowCtl = UART_HWCONTROL_NONE;
  huart3.Init.OverSampling = UART_OVERSAMPLING_16;
  huart3.Init.OneBitSampling = UART_ONE_BIT_SAMPLE_DISABLE;
  huart3.Init.ClockPrescaler = UART_PRESCALER_DIV1;
  huart3.AdvancedInit.AdvFeatureInit = UART_ADVFEATURE_NO_INIT;
  if (HAL_UART_Init(&huart3) != HAL_OK)
  {
    Error_Handler();
  }
  if (HAL_UARTEx_SetTxFifoThreshold(&huart3, UART_TXFIFO_THRESHOLD_1_8) != HAL_OK)
  {
    Error_Handler();
  }
  if (HAL_UARTEx_SetRxFifoThreshold(&huart3, UART_RXFIFO_THRESHOLD_1_8) != HAL_OK)
  {
    Error_Handler();
  }
  if (HAL_UARTEx_DisableFifoMode(&huart3) != HAL_OK)
  {
    Error_Handler();
  }

}

static void MX_DMA_Init(void)
{
    __HAL_RCC_DMA1_CLK_ENABLE();

    hdma_usart1_rx.Instance = DMA1_Stream0;
    hdma_usart1_rx.Init.Request = DMA_REQUEST_USART1_RX;
    hdma_usart1_rx.Init.Direction = DMA_PERIPH_TO_MEMORY;
    hdma_usart1_rx.Init.PeriphInc = DMA_PINC_DISABLE;
    hdma_usart1_rx.Init.MemInc = DMA_MINC_ENABLE;
    hdma_usart1_rx.Init.PeriphDataAlignment = DMA_PDATAALIGN_BYTE;
    hdma_usart1_rx.Init.MemDataAlignment = DMA_MDATAALIGN_BYTE;
    hdma_usart1_rx.Init.Mode = DMA_NORMAL;
    hdma_usart1_rx.Init.Priority = DMA_PRIORITY_LOW;
    hdma_usart1_rx.Init.FIFOMode = DMA_FIFOMODE_DISABLE;

    if (HAL_DMA_Init(&hdma_usart1_rx) != HAL_OK)
    {
        Error_Handler();
    }

    __HAL_LINKDMA(&huart1, hdmarx, hdma_usart1_rx);

    // DMA interrupt init
    // DMA1_Stream0_IRQn interrupt configuration
    HAL_NVIC_SetPriority(DMA1_Stream0_IRQn, 5, 0);
    HAL_NVIC_EnableIRQ(DMA1_Stream0_IRQn);
}

static void MX_GPIO_Init(void)
{
  GPIO_InitTypeDef GPIO_InitStruct = {0};

  /* GPIO Ports Clock Enable */
  __HAL_RCC_GPIOB_CLK_ENABLE();
  __HAL_RCC_GPIOG_CLK_ENABLE();
  __HAL_RCC_GPIOD_CLK_ENABLE();
  __HAL_RCC_GPIOE_CLK_ENABLE();
  __HAL_RCC_GPIOA_CLK_ENABLE();
  __HAL_RCC_GPIOH_CLK_ENABLE();
  __HAL_RCC_GPIOC_CLK_ENABLE();
  __HAL_RCC_GPIOF_CLK_ENABLE();

  /*Configure GPIO pin Output Level */
  HAL_GPIO_WritePin(GPIOG, LCD_BL_CTRL_Pin|RENDER_TIME_Pin, GPIO_PIN_RESET);

  /*Configure GPIO pin Output Level */
  HAL_GPIO_WritePin(GPIOD, MCU_ACTIVE_Pin|FRAME_RATE_Pin|LCD_DISP_Pin, GPIO_PIN_RESET);

  /*Configure GPIO pin Output Level */
  HAL_GPIO_WritePin(VSYNC_FREQ_GPIO_Port, VSYNC_FREQ_Pin, GPIO_PIN_RESET);

  /*Configure GPIO pin : LCD_BL_CTRL_Pin */
  GPIO_InitStruct.Pin = LCD_BL_CTRL_Pin;
  GPIO_InitStruct.Mode = GPIO_MODE_OUTPUT_PP;
  GPIO_InitStruct.Pull = GPIO_NOPULL;
  GPIO_InitStruct.Speed = GPIO_SPEED_FREQ_LOW;
  HAL_GPIO_Init(LCD_BL_CTRL_GPIO_Port, &GPIO_InitStruct);

  /*Configure GPIO pin : RENDER_TIME_Pin */
  GPIO_InitStruct.Pin = RENDER_TIME_Pin;
  GPIO_InitStruct.Mode = GPIO_MODE_OUTPUT_PP;
  GPIO_InitStruct.Pull = GPIO_NOPULL;
  GPIO_InitStruct.Speed = GPIO_SPEED_FREQ_VERY_HIGH;
  HAL_GPIO_Init(RENDER_TIME_GPIO_Port, &GPIO_InitStruct);

  /*Configure GPIO pins : MCU_ACTIVE_Pin FRAME_RATE_Pin */
  GPIO_InitStruct.Pin = MCU_ACTIVE_Pin|FRAME_RATE_Pin;
  GPIO_InitStruct.Mode = GPIO_MODE_OUTPUT_PP;
  GPIO_InitStruct.Pull = GPIO_NOPULL;
  GPIO_InitStruct.Speed = GPIO_SPEED_FREQ_VERY_HIGH;
  HAL_GPIO_Init(GPIOD, &GPIO_InitStruct);

  /*Configure GPIO pin : LCD_DISP_Pin */
  GPIO_InitStruct.Pin = LCD_DISP_Pin;
  GPIO_InitStruct.Mode = GPIO_MODE_OUTPUT_PP;
  GPIO_InitStruct.Pull = GPIO_NOPULL;
  GPIO_InitStruct.Speed = GPIO_SPEED_FREQ_LOW;
  HAL_GPIO_Init(LCD_DISP_GPIO_Port, &GPIO_InitStruct);

  /*Configure GPIO pin : VSYNC_FREQ_Pin */
  GPIO_InitStruct.Pin = VSYNC_FREQ_Pin;
  GPIO_InitStruct.Mode = GPIO_MODE_OUTPUT_PP;
  GPIO_InitStruct.Pull = GPIO_NOPULL;
  GPIO_InitStruct.Speed = GPIO_SPEED_FREQ_VERY_HIGH;
  HAL_GPIO_Init(VSYNC_FREQ_GPIO_Port, &GPIO_InitStruct);

}

/* USER CODE BEGIN 4 */
int __io_putchar(int ch)
{
    HAL_UART_Transmit(&huart3, (uint8_t *)&ch, 1, HAL_MAX_DELAY);
    return ch;
}

int __io_getchar(void)
{
    uint8_t ch;
    HAL_UART_Receive(&huart3, &ch, 1, HAL_MAX_DELAY);
    return ch;
}
/* USER CODE END 4 */

void StartDefaultTask(void *argument)
{
  /* USER CODE BEGIN 5 */
  /* Infinite loop */
  for(;;)
  {
	  osDelay(100);
  }
  /* USER CODE END 5 */
}

 /* MPU Configuration */

void MPU_Config(void)
{
  MPU_Region_InitTypeDef MPU_InitStruct = {0};

  /* Disables the MPU */
  HAL_MPU_Disable();

  /** Initializes and configures the Region and the memory to be protected
  */
  MPU_InitStruct.Enable = MPU_REGION_ENABLE;
  MPU_InitStruct.Number = MPU_REGION_NUMBER0;
  MPU_InitStruct.BaseAddress = 0x24000000;
  MPU_InitStruct.Size = MPU_REGION_SIZE_512KB;
  MPU_InitStruct.SubRegionDisable = 0x0;
  MPU_InitStruct.TypeExtField = MPU_TEX_LEVEL0;
  MPU_InitStruct.AccessPermission = MPU_REGION_FULL_ACCESS;
  MPU_InitStruct.DisableExec = MPU_INSTRUCTION_ACCESS_DISABLE;
  MPU_InitStruct.IsShareable = MPU_ACCESS_NOT_SHAREABLE;
  MPU_InitStruct.IsCacheable = MPU_ACCESS_CACHEABLE;
  MPU_InitStruct.IsBufferable = MPU_ACCESS_BUFFERABLE;

  HAL_MPU_ConfigRegion(&MPU_InitStruct);

  /** Initializes and configures the Region and the memory to be protected
  */
  MPU_InitStruct.Number = MPU_REGION_NUMBER1;
  MPU_InitStruct.BaseAddress = 0x70000000;
  MPU_InitStruct.Size = MPU_REGION_SIZE_512MB;
  MPU_InitStruct.AccessPermission = MPU_REGION_NO_ACCESS;
  MPU_InitStruct.IsCacheable = MPU_ACCESS_NOT_CACHEABLE;
  MPU_InitStruct.IsBufferable = MPU_ACCESS_NOT_BUFFERABLE;

  HAL_MPU_ConfigRegion(&MPU_InitStruct);

  /** Initializes and configures the Region and the memory to be protected
  */
  MPU_InitStruct.Number = MPU_REGION_NUMBER2;
  MPU_InitStruct.Size = MPU_REGION_SIZE_8MB;
  MPU_InitStruct.AccessPermission = MPU_REGION_FULL_ACCESS;
  MPU_InitStruct.IsCacheable = MPU_ACCESS_CACHEABLE;
  MPU_InitStruct.IsBufferable = MPU_ACCESS_BUFFERABLE;

  HAL_MPU_ConfigRegion(&MPU_InitStruct);

  /** Initializes and configures the Region and the memory to be protected
  */
  MPU_InitStruct.Number = MPU_REGION_NUMBER3;
  MPU_InitStruct.BaseAddress = 0x90000000;
  MPU_InitStruct.Size = MPU_REGION_SIZE_512MB;
  MPU_InitStruct.AccessPermission = MPU_REGION_NO_ACCESS;
  MPU_InitStruct.IsCacheable = MPU_ACCESS_NOT_CACHEABLE;
  MPU_InitStruct.IsBufferable = MPU_ACCESS_NOT_BUFFERABLE;

  HAL_MPU_ConfigRegion(&MPU_InitStruct);

  /** Initializes and configures the Region and the memory to be protected
  */
  MPU_InitStruct.Number = MPU_REGION_NUMBER4;
  MPU_InitStruct.Size = MPU_REGION_SIZE_64MB;
  MPU_InitStruct.AccessPermission = MPU_REGION_FULL_ACCESS;
  MPU_InitStruct.IsCacheable = MPU_ACCESS_CACHEABLE;

  HAL_MPU_ConfigRegion(&MPU_InitStruct);
  /* Enables the MPU */
  HAL_MPU_Enable(MPU_PRIVILEGED_DEFAULT);

}

void HAL_TIM_PeriodElapsedCallback(TIM_HandleTypeDef *htim)
{
  if (htim->Instance == TIM6) {
    HAL_IncTick();
  }
}

void Error_Handler(void)
{
}
